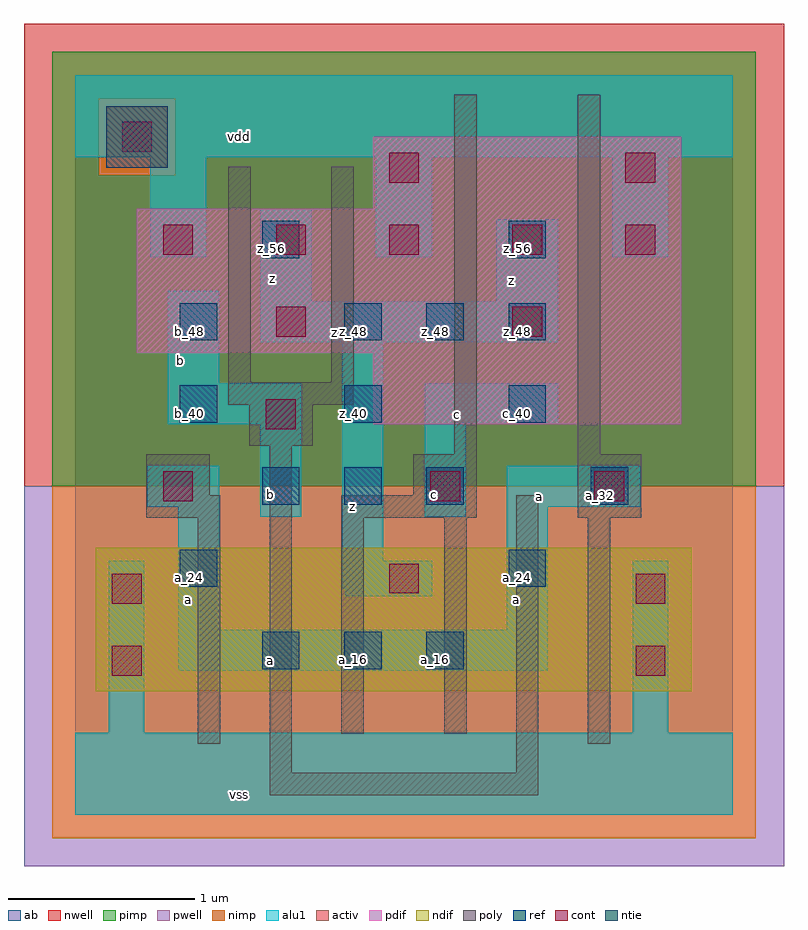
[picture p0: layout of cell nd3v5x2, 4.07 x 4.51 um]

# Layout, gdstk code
import gdstk
lib = gdstk.Library(unit=1e-6, precision=2.5e-09)
def R(c, l, rs):  # rectangles x0, y0, x1, y1
    for r in rs: c.add(gdstk.rectangle(r[:2], r[2:], *l))
def A(c, l, x, y, w, h, nx, ny, dx, dy):  # array of equal rectangles
    R(c, l, [(x+i*dx, y+j*dy, x+i*dx+w, y+j*dy+h) for i in range(nx) for j in range(ny)])
ndif = (3, 0)
pdif = (4, 0)
ntie = (5, 0)
ref = (24, 0)
cont = (25, 0)
pwell = (41, 0)
nwell = (42, 0)
activ = (43, 0)
pimp = (44, 0)
nimp = (45, 0)
poly = (46, 0)
alu1 = (49, 0)
ab = (63, 0)

nd3v5x2 = lib.new_cell('nd3v5x2')
R(nd3v5x2, ndif, [(0.11,0.66,3.3,1.43)])
R(nd3v5x2, pdif, [(1.595,2.09,3.245,2.475), (0.33,2.475,3.245,3.245), (1.595,3.245,3.245,3.63)])
R(nd3v5x2, ntie, [(0.165,3.465,0.495,3.795)])
A(nd3v5x2, ref, 1, 0.78, 0.2, 0.2, 3, 2, 0.44, 0.88)
A(nd3v5x2, ref, 0.56, 2.1, 0.2, 0.2, 3, 1, 0.88, 0)
A(nd3v5x2, ref, 1.44, 2.54, 0.2, 0.2, 3, 1, 0.44, 0)
R(nd3v5x2, ref, [(0.56,1.22,0.76,1.42), (2.32,1.22,2.52,1.42), (2.76,1.66,2.96,1.86), (0.56,2.54,0.76,2.74), (1,2.98,1.2,3.18), (2.32,2.98,2.52,3.18)])
A(nd3v5x2, cont, 0.47, 3, 0.16, 0.16, 3, 1, 0.605, 0)
R(nd3v5x2, cont, [(0.195,0.745,0.355,0.905), (3,0.745,3.16,0.905), (0.195,1.13,0.355,1.29), (3,1.13,3.16,1.29), (1.68,1.185,1.84,1.345), (0.47,1.68,0.63,1.84), (1.9,1.68,2.06,1.84), (2.78,1.68,2.94,1.84), (1.02,2.065,1.18,2.225), (1.075,2.56,1.235,2.72), (2.34,2.56,2.5,2.72), (2.34,3,2.5,3.16), (2.945,3,3.105,3.16), (1.68,3.385,1.84,3.545), (2.945,3.385,3.105,3.545), (0.25,3.55,0.41,3.71)])
R(nd3v5x2, pwell, [(-0.275,-0.275,3.795,1.76)])
R(nd3v5x2, nwell, [(-0.275,1.76,3.795,4.235)])
R(nd3v5x2, activ, [(0.11,0.66,3.3,1.43), (1.595,2.09,3.245,2.475), (0.33,2.475,3.245,3.245), (1.595,3.245,3.245,3.63), (0.165,3.465,0.495,3.795)])
R(nd3v5x2, pimp, [(-0.125,1.76,3.645,3.425), (-0.125,3.425,0.125,3.835), (0.535,3.425,3.645,3.835), (-0.125,3.835,3.645,4.085)])
R(nd3v5x2, nimp, [(-0.125,-0.125,3.645,1.76), (0.125,3.425,0.535,3.835)])
R(nd3v5x2, poly, [(1.04,0.105,2.48,0.225), (1.04,0.225,1.16,1.975), (2.36,0.225,2.48,1.71), (0.655,0.38,0.775,1.59), (2.745,0.38,2.865,1.59), (1.425,0.435,1.545,1.59), (1.975,0.435,2.095,1.59), (0.38,1.59,0.775,1.71), (1.425,1.59,2.15,1.71), (2.69,1.59,3.03,1.93), (0.38,1.71,0.72,1.93), (1.81,1.71,2.15,1.93), (2.03,1.93,2.15,3.855), (2.69,1.93,2.81,3.855), (0.93,1.975,1.27,2.195), (0.82,2.195,1.49,2.315), (0.82,2.315,0.94,3.47), (1.37,2.315,1.49,3.47)])
R(nd3v5x2, alu1, [(0,0,3.52,0.44), (0.18,0.44,0.37,1.36), (2.985,0.44,3.175,1.36), (0.55,0.77,2.53,0.99), (0.55,0.99,0.77,1.65), (2.31,0.99,2.53,1.65), (1.445,1.17,1.91,1.21), (1.43,1.21,1.91,1.36), (1.43,1.36,1.65,2.53), (0.99,1.595,1.21,2.09), (1.87,1.595,2.09,2.09), (0.385,1.65,0.77,1.87), (2.31,1.65,3.025,1.87), (0.495,2.09,1.21,2.31), (1.87,2.09,2.585,2.31), (0.495,2.31,0.77,2.805), (0.99,2.53,2.585,2.75), (0.99,2.75,1.265,3.245), (2.255,2.75,2.585,3.19), (0.4,2.985,0.7,3.52), (1.61,2.985,1.91,3.52), (2.875,2.985,3.175,3.52), (0,3.52,3.52,3.96)])
R(nd3v5x2, ab, [(0,0,3.52,3.96)])
nd3v5x2.add(gdstk.Label('vss', (0.88,0.11), layer=49, texttype=0))
nd3v5x2.add(gdstk.Label('a', (1.045,0.825), layer=49, texttype=0))
nd3v5x2.add(gdstk.Label('a', (2.365,1.155), layer=49, texttype=0))
nd3v5x2.add(gdstk.Label('a', (2.4875,1.705), layer=49, texttype=0))
nd3v5x2.add(gdstk.Label('c', (1.925,1.7175), layer=49, texttype=0))
nd3v5x2.add(gdstk.Label('c', (2.0475,2.145), layer=49, texttype=0))
nd3v5x2.add(gdstk.Label('z', (1.485,1.6525), layer=49, texttype=0))
nd3v5x2.add(gdstk.Label('b', (1.045,1.7175), layer=49, texttype=0))
nd3v5x2.add(gdstk.Label('a', (0.605,1.155), layer=49, texttype=0))
nd3v5x2.add(gdstk.Label('z', (1.3875,2.585), layer=49, texttype=0))
nd3v5x2.add(gdstk.Label('z', (2.3375,2.86), layer=49, texttype=0))
nd3v5x2.add(gdstk.Label('z', (1.0575,2.8725), layer=49, texttype=0))
nd3v5x2.add(gdstk.Label('b', (0.5625,2.4325), layer=49, texttype=0))
nd3v5x2.add(gdstk.Label('vdd', (0.88,3.63), layer=49, texttype=0))
nd3v5x2.add(gdstk.Label('z_56', (1.05,3.03), layer=24, texttype=0))
nd3v5x2.add(gdstk.Label('c_32', (1.93,1.71), layer=24, texttype=0))
nd3v5x2.add(gdstk.Label('a_24', (2.37,1.27), layer=24, texttype=0))
nd3v5x2.add(gdstk.Label('c_40', (2.37,2.15), layer=24, texttype=0))
nd3v5x2.add(gdstk.Label('z_48', (2.37,2.59), layer=24, texttype=0))
nd3v5x2.add(gdstk.Label('a_32', (2.81,1.71), layer=24, texttype=0))
nd3v5x2.add(gdstk.Label('z_56', (2.37,3.03), layer=24, texttype=0))
nd3v5x2.add(gdstk.Label('a_24', (0.61,1.27), layer=24, texttype=0))
nd3v5x2.add(gdstk.Label('a_16', (1.49,0.83), layer=24, texttype=0))
nd3v5x2.add(gdstk.Label('a_16', (1.05,0.83), layer=24, texttype=0))
nd3v5x2.add(gdstk.Label('a_16', (1.93,0.83), layer=24, texttype=0))
nd3v5x2.add(gdstk.Label('z_32', (1.49,1.71), layer=24, texttype=0))
nd3v5x2.add(gdstk.Label('z_40', (1.49,2.15), layer=24, texttype=0))
nd3v5x2.add(gdstk.Label('z_48', (1.49,2.59), layer=24, texttype=0))
nd3v5x2.add(gdstk.Label('b_40', (0.61,2.15), layer=24, texttype=0))
nd3v5x2.add(gdstk.Label('b_32', (1.05,1.71), layer=24, texttype=0))
nd3v5x2.add(gdstk.Label('z_48', (1.93,2.59), layer=24, texttype=0))
nd3v5x2.add(gdstk.Label('b_48', (0.61,2.59), layer=24, texttype=0))

lib.write_gds('nd3v5x2.gds')
